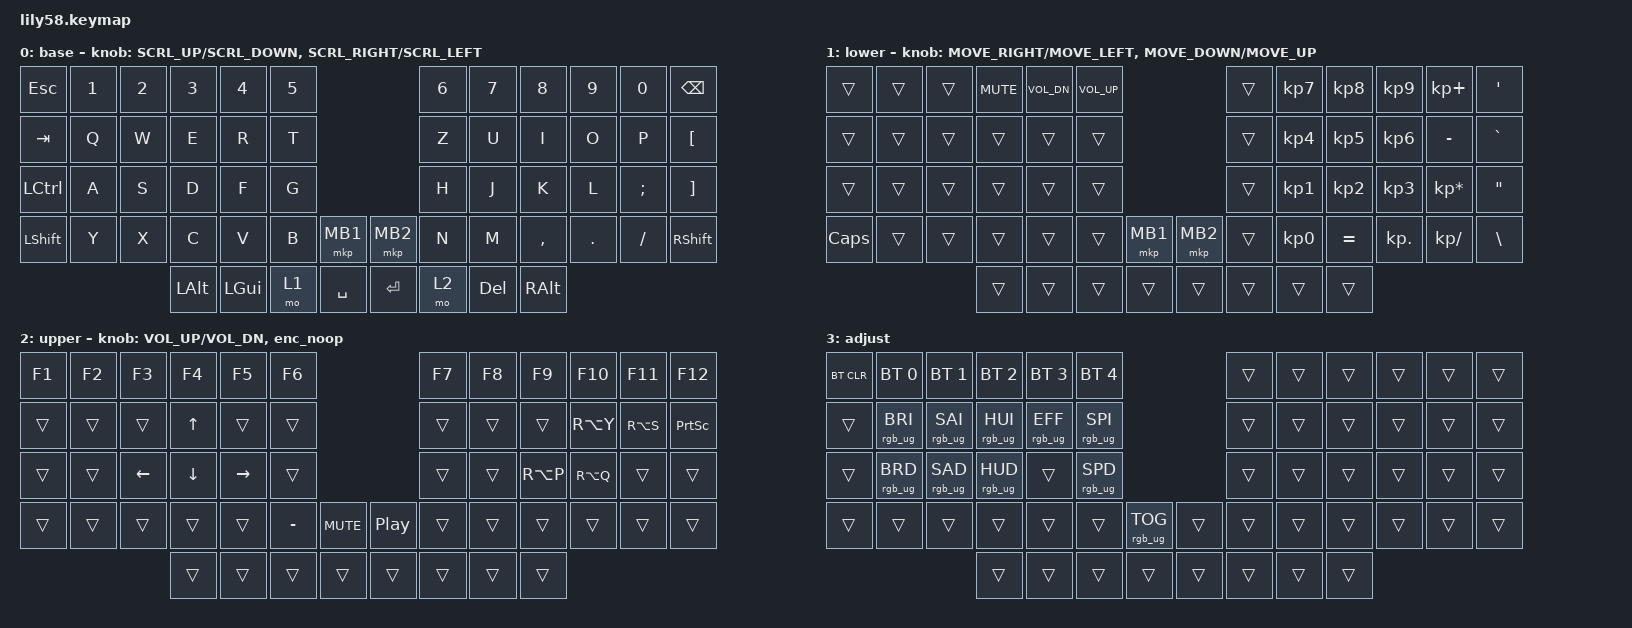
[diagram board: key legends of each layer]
#define ZMK_POINTING_DEFAULT_MOVE_VAL 2000
#define ZMK_POINTING_DEFAULT_SCRL_VAL 200

#include <behaviors.dtsi>
#include <dt-bindings/zmk/bt.h>
#include <dt-bindings/zmk/keys.h>
#include <dt-bindings/zmk/pointing.h>
#include <dt-bindings/zmk/rgb.h>

/ {
    conditional_layers {
        compatible = "zmk,conditional-layers";

        adjust_cond: adjust_layer {
            if-layers = <1 2>;
            then-layer = <3>;
        };
    };

    behaviors {
        rot_kp: rot_kp {
            compatible = "zmk,behavior-sensor-rotate-var";
            #sensor-binding-cells = <2>;
            bindings = <&kp>, <&kp>;
        };

        rot_msc: rot_msc {
            compatible = "zmk,behavior-sensor-rotate-var";
            #sensor-binding-cells = <2>;
            bindings = <&msc>, <&msc>;

            tap-ms = <35>;
        };

        rot_mmv: rot_mmv {
            compatible = "zmk,behavior-sensor-rotate-var";
            #sensor-binding-cells = <2>;
            bindings = <&mmv>, <&mmv>;

            tap-ms = <35>;
        };

        enc_noop: enc_noop {
            compatible = "zmk,behavior-sensor-rotate";
            #sensor-binding-cells = <0>;
            bindings = <&none>, <&none>;
        };
    };

    keymap {
        compatible = "zmk,keymap";

        base_layer: base {
            bindings = <
&kp ESC    &kp N1  &kp N2  &kp N3    &kp N4    &kp N5                         &kp N6  &kp N7   &kp N8     &kp N9   &kp N0    &kp BSPC
&kp TAB    &kp Q   &kp W   &kp E     &kp R     &kp T                          &kp Z   &kp U    &kp I      &kp O    &kp P     &kp LBKT
&kp LCTRL  &kp A   &kp S   &kp D     &kp F     &kp G                          &kp H   &kp J    &kp K      &kp L    &kp SEMI  &kp RBKT
&kp LSHFT  &kp Y   &kp X   &kp C     &kp V     &kp B   &mkp MB1     &mkp MB2  &kp N   &kp M    &kp COMMA  &kp DOT  &kp FSLH  &kp RSHFT
                           &kp LALT  &kp LGUI  &mo 1   &kp SPACE    &kp RET   &mo 2   &kp DEL  &kp RALT
            >;

            sensor-bindings = <
                &rot_msc SCRL_UP    SCRL_DOWN
                &rot_msc SCRL_RIGHT SCRL_LEFT
            >;
        };

        lower_layer: lower {
            bindings = <
&trans    &trans  &trans  &kp C_MUTE  &kp C_VOL_DN  &kp C_VOL_UP                        &trans  &kp KP_N7  &kp KP_N8  &kp KP_N9   &kp KP_PLUS      &kp APOS
&trans    &trans  &trans  &trans      &trans        &trans                              &trans  &kp KP_N4  &kp KP_N5  &kp KP_N6   &kp MINUS        &kp GRAVE
&trans    &trans  &trans  &trans      &trans        &trans                              &trans  &kp KP_N1  &kp KP_N2  &kp KP_N3   &kp KP_MULTIPLY  &kp DOUBLE_QUOTES
&kp CAPS  &trans  &trans  &trans      &trans        &trans        &mkp MB1    &mkp MB2  &trans  &kp KP_N0  &kp EQUAL  &kp KP_DOT  &kp KP_DIVIDE    &kp BSLH
                          &trans      &trans        &trans        &trans      &trans    &trans  &trans     &trans
            >;

            sensor-bindings = <
                &rot_mmv MOVE_RIGHT MOVE_LEFT
                &rot_mmv MOVE_DOWN  MOVE_UP
            >;
        };

        upper_layer: upper {
            bindings = <
&kp F1  &kp F2  &kp F3    &kp F4        &kp F5     &kp F6                             &kp F7  &kp F8  &kp F9     &kp F10    &kp F11    &kp F12
&trans  &trans  &trans    &kp UP_ARROW  &trans     &trans                             &trans  &trans  &trans     &kp RA(Y)  &kp RA(S)  &kp PSCRN
&trans  &trans  &kp LEFT  &kp DOWN      &kp RIGHT  &trans                             &trans  &trans  &kp RA(P)  &kp RA(Q)  &trans     &trans
&trans  &trans  &trans    &trans        &trans     &kp MINUS  &kp C_MUTE    &kp C_PP  &trans  &trans  &trans     &trans     &trans     &trans
                          &trans        &trans     &trans     &trans        &trans    &trans  &trans  &trans
            >;

            sensor-bindings = <
                &rot_kp C_VOL_UP C_VOL_DN
                &enc_noop
            >;
        };

        adjust_layer: adjust {
            bindings = <
&bt BT_CLR  &bt BT_SEL 0     &bt BT_SEL 1     &bt BT_SEL 2     &bt BT_SEL 3     &bt BT_SEL 4                                &trans  &trans  &trans  &trans  &trans  &trans
&trans      &rgb_ug RGB_BRI  &rgb_ug RGB_SAI  &rgb_ug RGB_HUI  &rgb_ug RGB_EFF  &rgb_ug RGB_SPI                             &trans  &trans  &trans  &trans  &trans  &trans
&trans      &rgb_ug RGB_BRD  &rgb_ug RGB_SAD  &rgb_ug RGB_HUD  &trans           &rgb_ug RGB_SPD                             &trans  &trans  &trans  &trans  &trans  &trans
&trans      &trans           &trans           &trans           &trans           &trans           &rgb_ug RGB_TOG    &trans  &trans  &trans  &trans  &trans  &trans  &trans
                                              &trans           &trans           &trans           &trans             &trans  &trans  &trans  &trans
            >;
        };
    };
};

&msc { time-to-max-speed-ms = <0>; };

&mmv { time-to-max-speed-ms = <0>; };
